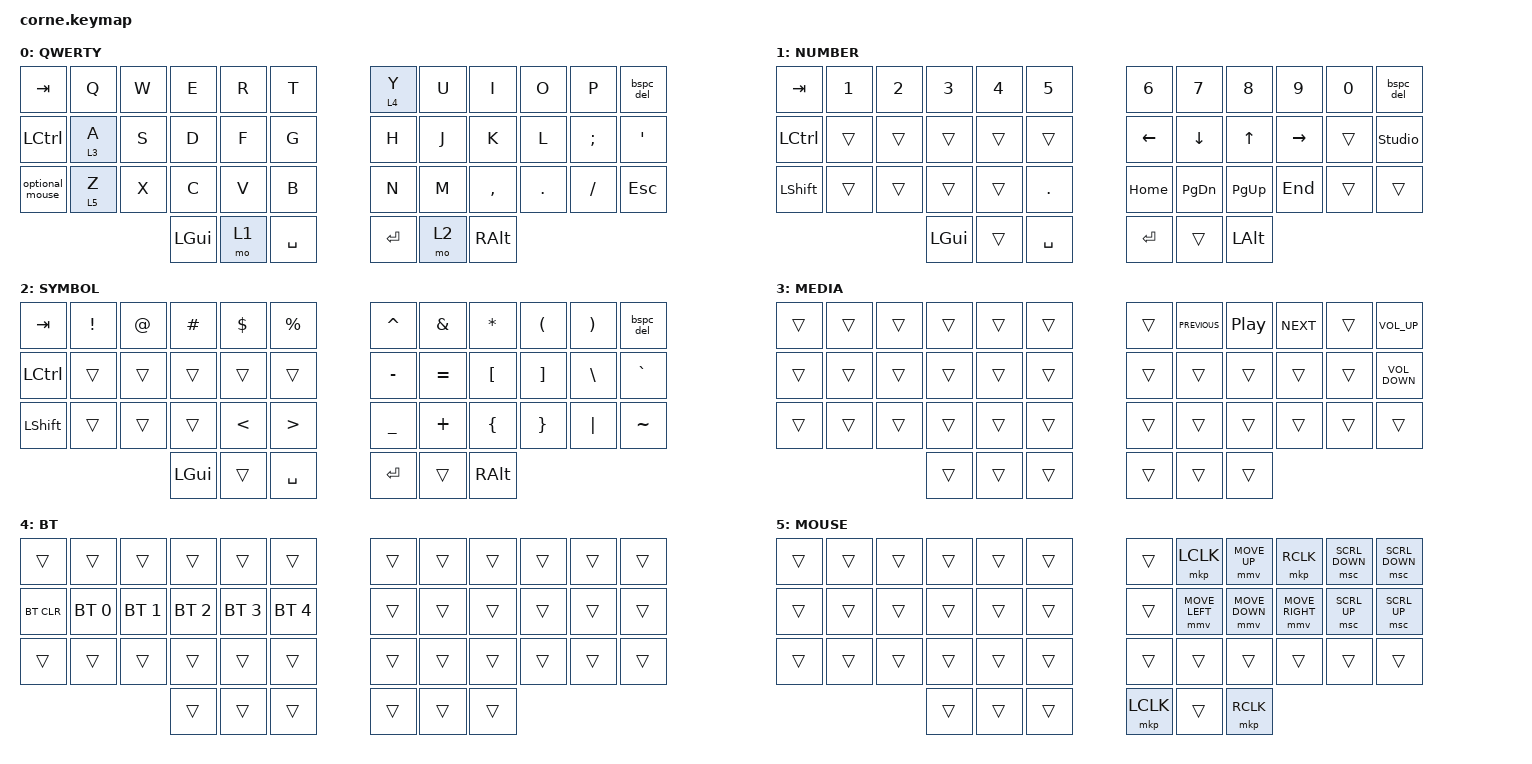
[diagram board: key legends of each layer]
#define ZMK_POINTING_DEFAULT_MOVE_VAL 800
#define ZMK_POINTING_DEFAULT_SCRL_VAL 10

#include <dt-bindings/zmk/mouse.h>
#include <behaviors.dtsi>
#include <dt-bindings/zmk/bt.h>
#include <dt-bindings/zmk/keys.h>
#include <dt-bindings/zmk/pointing.h>

&mmv {
    time-to-max-speed-ms = <100>;
    acceleration-exponent = <1>;
    trigger-period-ms = <16>;
};

&msc {
    time-to-max-speed-ms = <300>;
    acceleration-exponent = <0>;
    trigger-period-ms = <16>;
};

/ {
    behaviors {
        bspc_del: backspace_delete {
            compatible = "zmk,behavior-mod-morph";
            #binding-cells = <0>;
            mods = <(MOD_LSFT|MOD_RSFT)>;
            bindings = <&kp BSPC>, <&kp DEL>;
        };

        optional_mouse: optional_mouse {
            compatible = "zmk,behavior-tap-dance";
            label = "OPTIONAL_MOUSE";
            #binding-cells = <0>;
            bindings = <&kp LSHFT>, <&mo 5>;
        };
    };

    combos {
        compatible = "zmk,combos";

        ctrl_tab {
            key-positions = <13 1>;
            bindings = <&kp RC(TAB)>;
        };

        ctrl_shift_tab {
            key-positions = <12 0>;
            bindings = <&kp LS(LC(TAB))>;
        };

        clipboard_screenshot {
            key-positions = <0 1 2>;
            bindings = <&kp LG(LS(NUMBER_1))>;
        };
    };

    keymap {
        compatible = "zmk,keymap";

        default_layer {
            display-name = "QWERTY";
            // | TAB            | Q          | W | E   | R      | T   | LT BT Y | U      | I     | O | P    | BSPC_DEL     |
            // | CTRL           | LT MEDIA A | S | D   | F      | G   | H       | J      | K     | L | ;    | SINGLE_QUOTE |
            // | OPTIONAL_MOUSE | LT MOUSE Z | X | C   | V      | B   | N       | M      | ,     | . | FSLH | ESC          |
            //                                   | GUI | NUMBER | SPC | ENTER   | SYMBOL | ALTGR |
            bindings = <
                &kp TAB          &kp Q    &kp W  &kp E     &kp R  &kp T      &lt 4 Y  &kp U  &kp I      &kp O    &kp P     &bspc_del
                &kp LCTRL        &lt 3 A  &kp S  &kp D     &kp F  &kp G      &kp H    &kp J  &kp K      &kp L    &kp SEMI  &kp SINGLE_QUOTE
                &optional_mouse  &lt 5 Z  &kp X  &kp C     &kp V  &kp B      &kp N    &kp M  &kp COMMA  &kp DOT  &kp FSLH  &kp ESC
                                                 &kp LGUI  &mo 1  &kp SPACE  &kp RET  &mo 2  &kp RALT
            >;
        };

        lower_layer {
            display-name = "NUMBER";
            // | TAB   | 1 | 2 | 3   | 4 | 5   | 6     | 7         | 8       | 9     | 0 | BSPC_DEL      |
            // | CTRL  |   |   |     |   |     | LEFT  | DOWN      | UP      | RIGHT |   | STUDIO_UNLOCK |
            // | SHIFT |   |   |     |   | .   | HOME  | PAGE_DOWN | PAGE_UP | END   |   |               |
            //                 | GUI |   | SPC | ENTER |           | ALT     |
            bindings = <
                &kp TAB    &kp N1  &kp N2  &kp N3    &kp N4  &kp N5      &kp N6    &kp N7         &kp N8       &kp N9     &kp N0  &bspc_del
                &kp LCTRL  &trans  &trans  &trans    &trans  &trans      &kp LEFT  &kp DOWN       &kp UP       &kp RIGHT  &trans  &studio_unlock
                &kp LSHFT  &trans  &trans  &trans    &trans  &kp PERIOD  &kp HOME  &kp PAGE_DOWN  &kp PAGE_UP  &kp END    &trans  &trans
                                           &kp LGUI  &trans  &kp SPACE   &kp RET   &trans         &kp LALT
            >;
        };

        raise_layer {
            display-name = "SYMBOL";
            // | TAB   | EXCL | AT | HASH | DLLR      | PRCNT        | CARET | AMPS | ASTRK | ( | )    | BSPC_DEL |
            // | CTRL  |      |    |      |           |              | -     | =    | [     | ] | BSLH | `        |
            // | SHIFT |      |    |      | LESS_THAN | GREATER_THAN | _     | +    | {     | } | |    | ~        |
            //                     | GUI  |           | SPC          | ENTER |      | ALTGR |
            bindings = <
                &kp TAB    &kp EXCL  &kp AT  &kp HASH  &kp DLLR       &kp PRCNT         &kp CARET  &kp AMPS   &kp ASTRK  &kp LPAR  &kp RPAR  &bspc_del
                &kp LCTRL  &trans    &trans  &trans    &trans         &trans            &kp MINUS  &kp EQUAL  &kp LBKT   &kp RBKT  &kp BSLH  &kp GRAVE
                &kp LSHFT  &trans    &trans  &trans    &kp LESS_THAN  &kp GREATER_THAN  &kp UNDER  &kp PLUS   &kp LBRC   &kp RBRC  &kp PIPE  &kp TILDE
                                             &kp LGUI  &trans         &kp SPACE         &kp RET    &trans     &kp RALT
            >;
        };

        media_layer {
            display-name = "MEDIA";
            // |   |   |   |   |   |   |   | C_PREVIOUS | PLAY | NEXT |   | VOL+ |
            // |   |   |   |   |   |   |   |            |      |      |   | VOL- |
            // |   |   |   |   |   |   |   |            |      |      |   |      |
            //             |   |   |   |   |            |      |
            bindings = <
                &trans  &trans  &trans  &trans  &trans  &trans  &trans  &kp C_PREVIOUS  &kp C_PLAY_PAUSE  &kp C_NEXT  &trans  &kp C_VOLUME_UP
                &trans  &trans  &trans  &trans  &trans  &trans  &trans  &trans          &trans            &trans      &trans  &kp C_VOLUME_DOWN
                &trans  &trans  &trans  &trans  &trans  &trans  &trans  &trans          &trans            &trans      &trans  &trans
                                        &trans  &trans  &trans  &trans  &trans          &trans
            >;
        };

        bt_layer {
            display-name = "BT";
            // |       |     |     |     |     |     |   |   |   |   |   |   |
            // | BTCLR | BT1 | BT2 | BT3 | BT4 | BT5 |   |   |   |   |   |   |
            // |       |     |     |     |     |     |   |   |   |   |   |   |
            //                     |     |     |     |   |   |   |
            bindings = <
                &trans      &trans        &trans        &trans        &trans        &trans        &trans  &trans  &trans  &trans  &trans  &trans
                &bt BT_CLR  &bt BT_SEL 0  &bt BT_SEL 1  &bt BT_SEL 2  &bt BT_SEL 3  &bt BT_SEL 4  &trans  &trans  &trans  &trans  &trans  &trans
                &trans      &trans        &trans        &trans        &trans        &trans        &trans  &trans  &trans  &trans  &trans  &trans
                                                        &trans        &trans        &trans        &trans  &trans  &trans
            >;
        };

        mouse_layer {
            display-name = "MOUSE";
            // |   |   |   |   |   |   |          | MKP LCLK      | MMV MOVE_UP   | MKP RCLK       | MSC SCRL_DOWN | MSC SCRL_DOWN |
            // |   |   |   |   |   |   |          | MMV MOVE_LEFT | MMV MOVE_DOWN | MMV MOVE_RIGHT | MSC SCRL_UP   | MSC SCRL_UP   |
            // |   |   |   |   |   |   |          |               |               |                |               |               |
            //             |   |   |   | MKP LCLK |               | MKP RCLK      |
            bindings = <
                &trans  &trans  &trans  &trans  &trans  &trans  &trans     &mkp LCLK       &mmv MOVE_UP    &mkp RCLK        &msc SCRL_DOWN  &msc SCRL_DOWN
                &trans  &trans  &trans  &trans  &trans  &trans  &trans     &mmv MOVE_LEFT  &mmv MOVE_DOWN  &mmv MOVE_RIGHT  &msc SCRL_UP    &msc SCRL_UP
                &trans  &trans  &trans  &trans  &trans  &trans  &trans     &trans          &trans          &trans           &trans          &trans
                                        &trans  &trans  &trans  &mkp LCLK  &trans          &mkp RCLK
            >;
        };
    };
};
